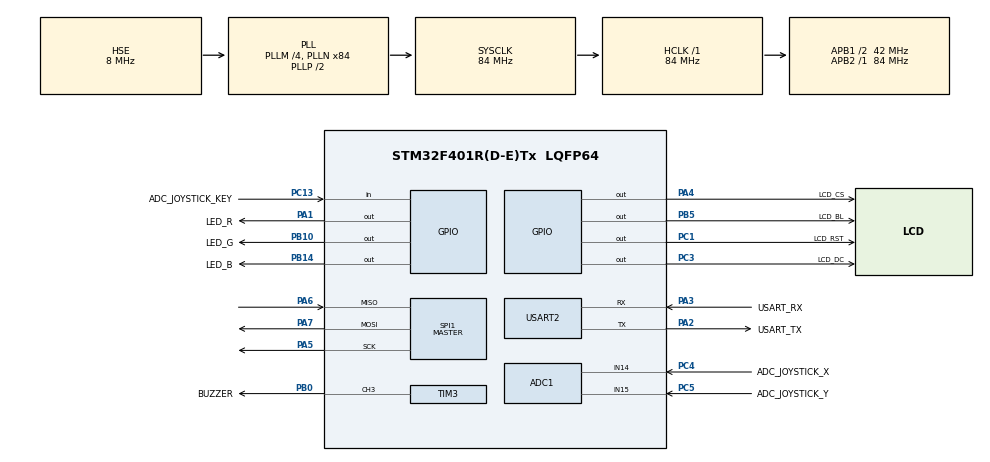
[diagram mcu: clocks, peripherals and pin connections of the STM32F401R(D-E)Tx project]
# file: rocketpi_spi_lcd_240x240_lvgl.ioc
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ADC1.Channel-0\#ChannelRegularConversion=ADC_CHANNEL_14
ADC1.Channel-1\#ChannelRegularConversion=ADC_CHANNEL_15
ADC1.ContinuousConvMode=ENABLE
ADC1.EnableAnalogWatchDog=false
ADC1.InjNumberOfConversion=0
ADC1.NbrOfConversion=2
ADC1.NbrOfConversionFlag=1
ADC1.Rank-0\#ChannelRegularConversion=1
ADC1.Rank-1\#ChannelRegularConversion=2
ADC1.SamplingTime-0\#ChannelRegularConversion=ADC_SAMPLETIME_112CYCLES
ADC1.SamplingTime-1\#ChannelRegularConversion=ADC_SAMPLETIME_112CYCLES
ADC1.ScanConvMode=ENABLE
ADC1.master=1
Dma.Request0=SPI1_TX
Dma.SPI1_TX.0.Direction=DMA_MEMORY_TO_PERIPH
Dma.SPI1_TX.0.FIFOMode=DMA_FIFOMODE_DISABLE
Dma.SPI1_TX.0.Instance=DMA2_Stream3
Dma.SPI1_TX.0.MemDataAlignment=DMA_MDATAALIGN_BYTE
Dma.SPI1_TX.0.MemInc=DMA_MINC_ENABLE
Dma.SPI1_TX.0.Mode=DMA_NORMAL
Dma.SPI1_TX.0.PeriphDataAlignment=DMA_PDATAALIGN_BYTE
Dma.SPI1_TX.0.PeriphInc=DMA_PINC_DISABLE
Dma.SPI1_TX.0.Priority=DMA_PRIORITY_LOW
Mcu.Family=STM32F4
Mcu.Name=STM32F401R(D-E)Tx
Mcu.Package=LQFP64
NVIC.DMA2_Stream3_IRQn=true\:0\:0\:false\:false\:true\:false\:true\:true
NVIC.PriorityGroup=NVIC_PRIORITYGROUP_4
NVIC.SPI1_IRQn=true\:0\:0\:false\:false\:true\:true\:true\:true
PA1.GPIO_Label=LED_R
PA1.Signal=GPIO_Output
PA13.GPIO_Label=TMS
PA13.Mode=Serial_Wire
PA13.Signal=SYS_JTMS-SWDIO
PA14.GPIO_Label=TCK
PA14.Mode=Serial_Wire
PA14.Signal=SYS_JTCK-SWCLK
PA2.GPIO_Label=USART_TX
PA2.GPIO_Mode=GPIO_MODE_AF_PP
PA2.GPIO_PuPd=GPIO_NOPULL
PA2.GPIO_Speed=GPIO_SPEED_FREQ_LOW
PA2.Mode=Asynchronous
PA2.Signal=USART2_TX
PA3.GPIO_Label=USART_RX
PA3.GPIO_Mode=GPIO_MODE_AF_PP
PA3.GPIO_PuPd=GPIO_NOPULL
PA3.GPIO_Speed=GPIO_SPEED_FREQ_LOW
PA3.Mode=Asynchronous
PA3.Signal=USART2_RX
PA4.GPIO_Label=LCD_CS
PA4.Signal=GPIO_Output
PA5.Mode=Full_Duplex_Master
PA5.Signal=SPI1_SCK
PA6.Mode=Full_Duplex_Master
PA6.Signal=SPI1_MISO
PA7.Mode=Full_Duplex_Master
PA7.Signal=SPI1_MOSI
PB0.GPIO_Label=BUZZER
PB0.Signal=S_TIM3_CH3
PB10.GPIO_Label=LED_G
PB10.Signal=GPIO_Output
PB14.GPIO_Label=LED_B
PB14.Signal=GPIO_Output
PB5.GPIO_Label=LCD_BL
PB5.Signal=GPIO_Output
PC1.GPIO_Label=LCD_RST
PC1.Signal=GPIO_Output
PC13-ANTI_TAMP.GPIO_Label=ADC_JOYSTICK_KEY
PC13-ANTI_TAMP.Signal=GPIO_Input
PC14-OSC32_IN.Mode=LSE-External-Oscillator
PC14-OSC32_IN.Signal=RCC_OSC32_IN
PC15-OSC32_OUT.Mode=LSE-External-Oscillator
PC15-OSC32_OUT.Signal=RCC_OSC32_OUT
PC3.GPIO_Label=LCD_DC
PC3.Signal=GPIO_Output
PC4.GPIO_Label=ADC_JOYSTICK_X
PC4.Signal=ADCx_IN14
PC5.GPIO_Label=ADC_JOYSTICK_Y
PC5.Signal=ADCx_IN15
PH0\ -\ OSC_IN.Mode=HSE-External-Oscillator
PH0\ -\ OSC_IN.Signal=RCC_OSC_IN
PH1\ -\ OSC_OUT.Mode=HSE-External-Oscillator
PH1\ -\ OSC_OUT.Signal=RCC_OSC_OUT
ProjectManager.HeapSize=0x800
ProjectManager.StackSize=0x800
ProjectManager.TargetToolchain=MDK-ARM V5.27
RCC.48MHZClocksFreq_Value=24000000
RCC.AHBFreq_Value=84000000
RCC.APB1CLKDivider=RCC_HCLK_DIV2
RCC.APB1Freq_Value=42000000
RCC.APB1TimFreq_Value=84000000
RCC.APB2Freq_Value=84000000
RCC.APB2TimFreq_Value=84000000
RCC.CortexFreq_Value=84000000
RCC.HCLKFreq_Value=84000000
RCC.HSE_VALUE=8000000
RCC.HSI_VALUE=16000000
RCC.PLLM=4
RCC.PLLN=84
RCC.PLLQ=7
RCC.PLLSourceVirtual=RCC_PLLSOURCE_HSE
RCC.SYSCLKFreq_VALUE=84000000
RCC.SYSCLKSource=RCC_SYSCLKSOURCE_PLLCLK
RCC.VCOOutputFreq_Value=168000000
SH.ADCx_IN14.0=ADC1_IN14,IN14
SH.ADCx_IN15.0=ADC1_IN15,IN15
SH.S_TIM3_CH3.0=TIM3_CH3,PWM Generation3 CH3
SPI1.DataSize=SPI_DATASIZE_8BIT
SPI1.Direction=SPI_DIRECTION_2LINES
SPI1.Mode=SPI_MODE_MASTER
SPI1.VirtualType=VM_MASTER
TIM3.Channel-PWM\ Generation3\ CH3=TIM_CHANNEL_3
TIM3.ClockDivision=TIM_CLOCKDIVISION_DIV1
TIM3.Period=499
TIM3.Prescaler=84-1
TIM3.Pulse-PWM\ Generation3\ CH3=500/2
USART2.VirtualMode=VM_ASYNC
board=NUCLEO-F401RE

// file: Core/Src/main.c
/* USER CODE BEGIN Header */
/**
  ******************************************************************************
  * @file           : main.c
  * @brief          : Main program body
  ******************************************************************************
  * @attention
  *
  * Copyright (c) 2025 STMicroelectronics.
  * All rights reserved.
  *
  * This software is licensed under terms that can be found in the LICENSE file
  * in the root directory of this software component.
  * If no LICENSE file comes with this software, it is provided AS-IS.
  *
  ******************************************************************************
  */
/* USER CODE END Header */
#include "main.h"
#include "adc.h"
#include "dma.h"
#include "spi.h"
#include "tim.h"
#include "usart.h"
#include "gpio.h"

/* USER CODE BEGIN Includes */
#include "st7789.h"
#include "lv_conf.h"
#include "lvgl.h"
#include "lv_port_disp.h"
#include "lv_port_indev.h"
#include "lv_demos.h"
/* USER CODE END Includes */

void SystemClock_Config(void);

/* USER CODE BEGIN 0 */
#define ENABLE_ST7789_FPS_TEST 0

LV_IMAGE_DECLARE(rgb565_grid_240x240);

void ui_show_image(void)
{
    lv_obj_t *img = lv_image_create(lv_screen_active());
    lv_image_set_src(img, &rgb565_grid_240x240);
    lv_obj_center(img);
}

/* USER CODE END 0 */

int main(void)
{

  /* MCU Configuration--------------------------------------------------------*/

  /* Reset of all peripherals, Initializes the Flash interface and the Systick. */
  HAL_Init();

  /* Configure the system clock */
  SystemClock_Config();

  /* Initialize all configured peripherals */
  MX_GPIO_Init();
  MX_DMA_Init();
  MX_USART2_UART_Init();
  MX_SPI1_Init();
  MX_ADC1_Init();
  MX_TIM3_Init();
  /* USER CODE BEGIN 2 */
#if ENABLE_ST7789_FPS_TEST
  ST7789_Init();
  ST7789_TestFrameRate();
#endif

  lv_init();
  lv_port_disp_init();
  lv_port_indev_init();

//  lv_demo_widgets();

//  lv_demo_stress();

	lv_demo_keypad_encoder(); /* test input */

//  lv_demo_scroll();

//  ui_show_image();

  lv_indev_t * keypad = lv_port_indev_get_keypad();
  lv_group_t * group = lv_group_get_default();
  if ((keypad != NULL) && (group != NULL))
  {
    lv_indev_set_group(keypad, group);
  }
  /* USER CODE END 2 */

  /* Infinite loop */
  while (1)
  {

    /* USER CODE BEGIN 3 */
    lv_timer_handler();
    HAL_Delay(1);
  }
  /* USER CODE END 3 */
}

void SystemClock_Config(void)
{
  RCC_OscInitTypeDef RCC_OscInitStruct = {0};
  RCC_ClkInitTypeDef RCC_ClkInitStruct = {0};

  /** Configure the main internal regulator output voltage
  */
  __HAL_RCC_PWR_CLK_ENABLE();
  __HAL_PWR_VOLTAGESCALING_CONFIG(PWR_REGULATOR_VOLTAGE_SCALE2);

  /** Initializes the RCC Oscillators according to the specified parameters
  * in the RCC_OscInitTypeDef structure.
  */
  RCC_OscInitStruct.OscillatorType = RCC_OSCILLATORTYPE_HSE;
  RCC_OscInitStruct.HSEState = RCC_HSE_ON;
  RCC_OscInitStruct.PLL.PLLState = RCC_PLL_ON;
  RCC_OscInitStruct.PLL.PLLSource = RCC_PLLSOURCE_HSE;
  RCC_OscInitStruct.PLL.PLLM = 4;
  RCC_OscInitStruct.PLL.PLLN = 84;
  RCC_OscInitStruct.PLL.PLLP = RCC_PLLP_DIV2;
  RCC_OscInitStruct.PLL.PLLQ = 7;
  if (HAL_RCC_OscConfig(&RCC_OscInitStruct) != HAL_OK)
  {
    Error_Handler();
  }

  /** Initializes the CPU, AHB and APB buses clocks
  */
  RCC_ClkInitStruct.ClockType = RCC_CLOCKTYPE_HCLK|RCC_CLOCKTYPE_SYSCLK
                              |RCC_CLOCKTYPE_PCLK1|RCC_CLOCKTYPE_PCLK2;
  RCC_ClkInitStruct.SYSCLKSource = RCC_SYSCLKSOURCE_PLLCLK;
  RCC_ClkInitStruct.AHBCLKDivider = RCC_SYSCLK_DIV1;
  RCC_ClkInitStruct.APB1CLKDivider = RCC_HCLK_DIV2;
  RCC_ClkInitStruct.APB2CLKDivider = RCC_HCLK_DIV1;

  if (HAL_RCC_ClockConfig(&RCC_ClkInitStruct, FLASH_LATENCY_2) != HAL_OK)
  {
    Error_Handler();
  }
}

void Error_Handler(void)
{
  __disable_irq();
  while (1)
  {
  }
}
